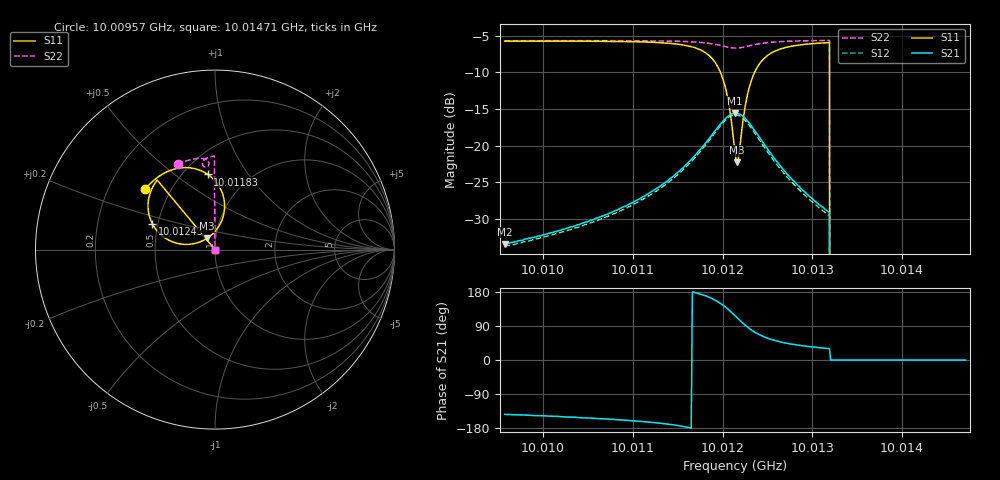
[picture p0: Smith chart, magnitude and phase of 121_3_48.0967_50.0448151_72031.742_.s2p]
#  HZ  S  RI  R  50.00
! Rohde & Schwarz Vector Network Analyzer
! Rohde-Schwarz,ZNB20-2Port,1311601062101988,3.16
! Created: UTC 12/23/2023, 3:46:46 AM
! freq[Hz]  re:S11  im:S11  re:S21  im:S21  re:S12  im:S12  re:S22  im:S22
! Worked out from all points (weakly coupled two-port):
!   401 points, 10.00957 GHz to 10.01471 GHz, reference 50 ohm
!   highest |S21| = -15.57 dB at 10.01214 GHz (marker M1); lowest = -33.4 dB at 10.00957 GHz (marker M2)
!   lowest |S11| = -22.3 dB at 10.01216 GHz (marker M3), VSWR 1.17, Z = 45.3 + j5.65 ohm
!   |S11| at or under -10 dB: 10.01198 GHz to 10.01236 GHz (381.5 kHz wide, 0.00381 % of centre); 10.01319 GHz to end of sweep
!   |S22| runs from - to -5.7 dB; largest |S21 - S12| = 0.0082
!   S11 on the Smith chart (normalised r, x): 10.00957 GHz: 0.36, +0.33; 10.01183 GHz: 0.65, +0.67; 10.01243 GHz: 0.47, +0.15; 10.01471 GHz: 1.00, +0.00
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1.0009572e10  -0.3875 0.3392  -0.0172 -0.0128  -0.0159 -0.0132  -0.2075 0.4748
1.0010432e10  -0.3324 0.3929  -0.0262 -0.0138  -0.0245 -0.0145  -0.1536 0.4956
1.0010907e10  -0.2874 0.4236  -0.0358 -0.014  -0.0339 -0.015  -0.1215 0.5042
1.0011292e10  -0.2301 0.4476  -0.051 -0.0123  -0.0484 -0.0143  -0.0927 0.5084
1.0011587e10  -0.1535 0.4567  -0.0733 -0.00439  -0.0704 -0.00828  -0.0672 0.5076
1.0011831e10  -0.0399 0.4189  -0.1052 0.0229  -0.1032 0.0169  -0.0435 0.4974
1.0011934e10  0.0209 0.3558  -0.1184 0.0536  -0.1182 0.0458  -0.0354 0.4865
1.0012011e10  0.0515 0.2717  -0.1197 0.0871  -0.1204 0.0801  -0.0337 0.4751
1.0012075e10  0.044 0.1791  -0.1061 0.1208  -0.1088 0.1133  -0.038 0.4653
1.0012139e10  -0.0108 0.0894  -0.0755 0.1485  -0.0789 0.142  -0.0479 0.4594
1.0012165e10  -0.0455 0.062  -0.0596 0.155  -0.0635 0.1485  -0.0526 0.4591
1.0012191e10  -0.0846 0.0425  -0.0435 0.1582  -0.0473 0.1522  -0.0574 0.4601
1.0012242e10  -0.1663 0.0289  -0.0116 0.1553  -0.0156 0.1499  -0.0648 0.4651
1.0012293e10  -0.2391 0.0442  0.0148 0.1432  0.00957 0.1383  -0.0689 0.4728
1.0012357e10  -0.3042 0.0851  0.0359 0.122  0.0301 0.1185  -0.0698 0.4827
1.0012434e10  -0.3482 0.1422  0.0472 0.098  0.0417 0.0953  -0.0661 0.4929
1.0012678e10  -0.3711 0.2752  0.0479 0.0494  0.0433 0.049  -0.0455 0.5106
1.0012999e10  -0.3415 0.3585  0.0358 0.0248  0.0331 0.025  -0.0186 0.5184
1.0013166e10  -0.3245 0.3838  0.031 0.0183  0.0286 0.0189  -0.00556 0.5204
1.001323e10  0 0  0 0  0 0  0 0
1.0013859e10  0 0  0 0  0 0  0 0
1.0014707e10  0 0  0 0  0 0  0 0
